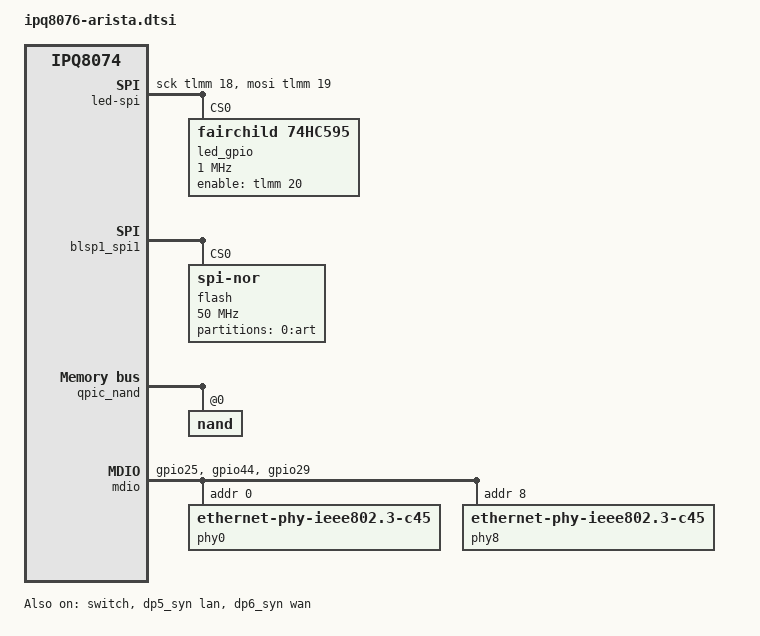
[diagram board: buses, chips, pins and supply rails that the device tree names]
// SPDX-License-Identifier: GPL-2.0-or-later OR MIT

#include "ipq8074.dtsi"
#include "ipq8074-ess.dtsi"
#include "ipq8074-nss.dtsi"
#include "ipq8074-common.dtsi"
#include "ipq8074-hk-cpu.dtsi"

#include <dt-bindings/gpio/gpio.h>
#include <dt-bindings/input/input.h>
#include <dt-bindings/leds/common.h>

/ {
	aliases {
		serial0 = &blsp1_uart5;
		ethernet0 = &swport5;
		ethernet1 = &swport6;
		label-mac-device = &swport6;

		led-boot = &led_power_green;
		led-failsafe = &led_power_red;
		led-running = &led_power_green;
		led-upgrade = &led_power_red;
	};

	chosen {
		stdout-path = "serial0:115200n8";
		bootargs-append = " root=/dev/ubiblock0_0";
	};

	led-spi {
		compatible = "spi-gpio";
		#address-cells = <1>;
		#size-cells = <0>;

		sck-gpios = <&tlmm 18 GPIO_ACTIVE_HIGH>;
		mosi-gpios = <&tlmm 19 GPIO_ACTIVE_HIGH>;

		led_gpio: led-gpio@0 {
			compatible = "fairchild,74hc595";
			reg = <0>;
			gpio-controller;
			#gpio-cells = <2>;
			registers-number = <2>;
			enable-gpios = <&tlmm 20 GPIO_ACTIVE_HIGH>;
			spi-max-frequency = <1000000>;
		};
	};
};

&switch {
	ports {
		#address-cells = <1>;
		#size-cells = <0>;

		swport5: port@5 {
			reg = <5>;
			phy-mode = "usxgmii";
			pcs-handle = <&uniphy1 0>;
			status = "disabled";
		};

		swport6: port@6 {
			reg = <6>;
			phy-mode = "usxgmii";
			pcs-handle = <&uniphy2 0>;
			status = "disabled";
		};
	};
};

&blsp1_spi1 {
	status = "okay";

	flash@0 {
		compatible = "jedec,spi-nor";
		spi-max-frequency = <50000000>;
		reg = <0>;

		partitions {
			compatible = "qcom,smem-part";
			qcom,smem-flash-id = <0>;

			partition-0-art {
				label = "0:art";
				read-only;

				nvmem-layout {
					compatible = "fixed-layout";
					#address-cells = <1>;
					#size-cells = <1>;

					macaddr_lan: macaddr@0 {
						compatible = "mac-base";
						reg = <0x0 0x6>;
					};

					macaddr_wan: macaddr@6 {
						compatible = "mac-base";
						reg = <0x6 0x6>;
					};
				};
			};
		};
	};
};

&qpic_nand {
	status = "okay";

	nand@0 {
		reg = <0>;
		nand-ecc-strength = <8>;
		nand-ecc-step-size = <512>;
		nand-bus-width = <8>;

		partitions {
			compatible = "qcom,smem-part";
			qcom,smem-flash-id = <1>;
		};
	};
};

&tlmm {
	mdio_extra_pins: mdio-extra-pins {
		phy-gpios {
			pins = "gpio25", "gpio44";
			function = "gpio";
			drive-strength = <8>;
			bias-pull-up;
		};

		phy-power {
			pins = "gpio29";
			function = "gpio";
			drive-strength = <8>;
			bias-pull-up;
			output-high;
		};
	};
};

&mdio {
	status = "okay";
	pinctrl-0 = <&mdio_pins>, <&mdio_extra_pins>;
	pinctrl-names = "default";

	phy0: ethernet-phy@0 {
		compatible = "ethernet-phy-ieee802.3-c45";
		reg = <0>;
	};

	phy8: ethernet-phy@8 {
		compatible = "ethernet-phy-ieee802.3-c45";
		reg = <8>;
	};
};

&switch {
	status = "okay";

	switch_lan_bmp = <ESS_PORT5>;
	switch_wan_bmp = <ESS_PORT6>;
	switch_mac_mode = <MAC_MODE_DISABLED>;
	switch_mac_mode1 = <MAC_MODE_USXGMII>;
	switch_mac_mode2 = <MAC_MODE_USXGMII>;

	qcom,port_phyinfo {
		port@5 {
			port_id = <5>;
			phy_address = <8>;
			compatible = "ethernet-phy-ieee802.3-c45";
			ethernet-phy-ieee802.3-c45;
		};

		port@6 {
			port_id = <6>;
			phy_address = <0>;
			compatible = "ethernet-phy-ieee802.3-c45";
			ethernet-phy-ieee802.3-c45;
		};
	};
};

&edma {
	status = "okay";
};

&dp5_syn {
	status = "okay";
	phy-mode = "usxgmii";
	phy-handle = <&phy8>;
	label = "lan";
	nvmem-cells = <&macaddr_lan>;
	nvmem-cell-names = "mac-address";
};

&dp6_syn {
	status = "okay";
	phy-mode = "usxgmii";
	phy-handle = <&phy0>;
	label = "wan";
	nvmem-cells = <&macaddr_wan>;
	nvmem-cell-names = "mac-address";
};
